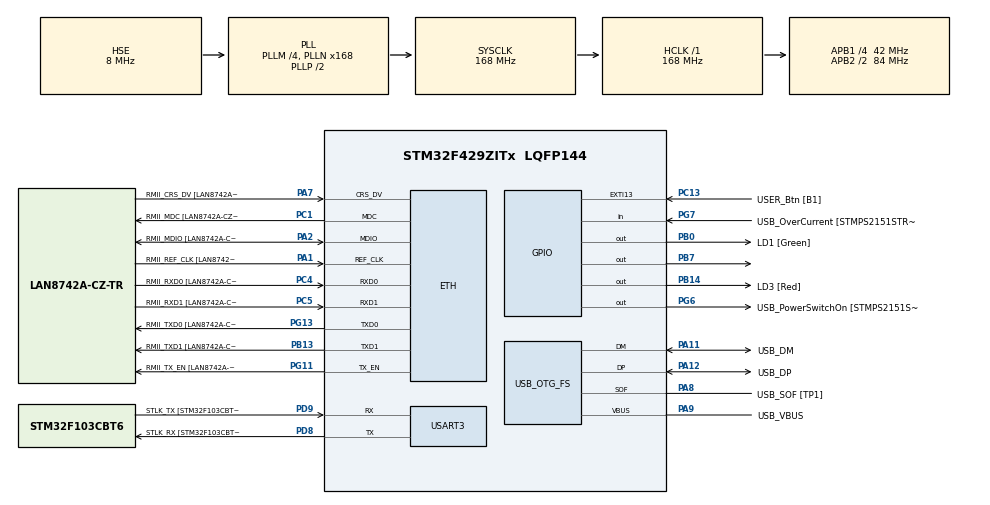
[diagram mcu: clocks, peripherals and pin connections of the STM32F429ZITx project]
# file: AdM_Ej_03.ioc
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ETH.MediaInterface=HAL_ETH_RMII_MODE
ETH.PHY_Name=LAN8742A_PHY_ADDRESS
ETH.PHY_Value=0
ETH.PhyAddress=0
Mcu.Family=STM32F4
Mcu.Name=STM32F429ZITx
Mcu.Package=LQFP144
NVIC.PriorityGroup=NVIC_PRIORITYGROUP_4
PA1.GPIO_Label=RMII_REF_CLK [LAN8742A-CZ-TR_REFCLK0]
PA1.Mode=RMII
PA1.Signal=ETH_REF_CLK
PA10.GPIO_Label=USB_ID
PA10.Signal=USB_OTG_FS_ID
PA11.GPIO_Label=USB_DM
PA11.Mode=Device_Only
PA11.Signal=USB_OTG_FS_DM
PA12.GPIO_Label=USB_DP
PA12.Mode=Device_Only
PA12.Signal=USB_OTG_FS_DP
PA13.GPIO_Label=TMS
PA13.Mode=Serial_Wire
PA13.Signal=SYS_JTMS-SWDIO
PA14.GPIO_Label=TCK
PA14.Mode=Serial_Wire
PA14.Signal=SYS_JTCK-SWCLK
PA2.GPIO_Label=RMII_MDIO [LAN8742A-CZ-TR_MDIO]
PA2.Mode=RMII
PA2.Signal=ETH_MDIO
PA7.GPIO_Label=RMII_CRS_DV [LAN8742A-CZ-TR_CRS_DV]
PA7.Mode=RMII
PA7.Signal=ETH_CRS_DV
PA8.GPIO_Label=USB_SOF [TP1]
PA8.Mode=Activate_SOF_FS
PA8.Signal=USB_OTG_FS_SOF
PA9.GPIO_Label=USB_VBUS
PA9.Mode=Activate_VBUS
PA9.Signal=USB_OTG_FS_VBUS
PB0.GPIO_Label=LD1 [Green]
PB0.Signal=GPIO_Output
PB13.GPIO_Label=RMII_TXD1 [LAN8742A-CZ-TR_TXD1]
PB13.Mode=RMII
PB13.Signal=ETH_TXD1
PB14.GPIO_Label=LD3 [Red]
PB14.Signal=GPIO_Output
PB7.Signal=GPIO_Output
PC1.GPIO_Label=RMII_MDC [LAN8742A-CZ-TR_MDC]
PC1.Mode=RMII
PC1.Signal=ETH_MDC
PC13.GPIO_Label=USER_Btn [B1]
PC13.Signal=GPXTI13
PC14/OSC32_IN.Mode=LSE-External-Oscillator
PC14/OSC32_IN.Signal=RCC_OSC32_IN
PC15/OSC32_OUT.Mode=LSE-External-Oscillator
PC15/OSC32_OUT.Signal=RCC_OSC32_OUT
PC4.GPIO_Label=RMII_RXD0 [LAN8742A-CZ-TR_RXD0]
PC4.Mode=RMII
PC4.Signal=ETH_RXD0
PC5.GPIO_Label=RMII_RXD1 [LAN8742A-CZ-TR_RXD1]
PC5.Mode=RMII
PC5.Signal=ETH_RXD1
PD8.GPIO_Label=STLK_RX [STM32F103CBT6_PA3]
PD8.Mode=Asynchronous
PD8.Signal=USART3_TX
PD9.GPIO_Label=STLK_TX [STM32F103CBT6_PA2]
PD9.Mode=Asynchronous
PD9.Signal=USART3_RX
PG11.GPIO_Label=RMII_TX_EN [LAN8742A-CZ-TR_TXEN]
PG11.Mode=RMII
PG11.Signal=ETH_TX_EN
PG13.GPIO_Label=RMII_TXD0 [LAN8742A-CZ-TR_TXD0]
PG13.Mode=RMII
PG13.Signal=ETH_TXD0
PG6.GPIO_Label=USB_PowerSwitchOn [STMPS2151STR_EN]
PG6.Signal=GPIO_Output
PG7.GPIO_Label=USB_OverCurrent [STMPS2151STR_FAULT]
PG7.Signal=GPIO_Input
PH0/OSC_IN.GPIO_Label=MCO [STM32F103CBT6_PA8]
PH0/OSC_IN.Mode=HSE-External-Clock-Source
PH0/OSC_IN.Signal=RCC_OSC_IN
PH1/OSC_OUT.Mode=HSE-External-Clock-Source
PH1/OSC_OUT.Signal=RCC_OSC_OUT
ProjectManager.HeapSize=0x200
ProjectManager.StackSize=0x400
ProjectManager.TargetToolchain=STM32CubeIDE
RCC.48MHZClocksFreq_Value=48000000
RCC.AHBFreq_Value=168000000
RCC.APB1CLKDivider=RCC_HCLK_DIV4
RCC.APB1Freq_Value=42000000
RCC.APB1TimFreq_Value=84000000
RCC.APB2CLKDivider=RCC_HCLK_DIV2
RCC.APB2Freq_Value=84000000
RCC.APB2TimCLKDivider=2
RCC.APB2TimFreq_Value=168000000
RCC.CortexFreq_Value=168000000
RCC.HCLKFreq_Value=168000000
RCC.HSE_VALUE=8000000
RCC.HSI_VALUE=16000000
RCC.PLLM=4
RCC.PLLMUL=RCC_PLL_MUL9
RCC.PLLN=168
RCC.PLLQ=7
RCC.PRESCALERUSB=RCC_USBCLKSOURCE_PLL_DIV1_5
RCC.SYSCLKFreq_VALUE=168000000
RCC.SYSCLKSource=RCC_SYSCLKSOURCE_PLLCLK
RCC.SYSCLKSourceVirtual=RCC_SYSCLKSOURCE_PLLCLK
RCC.USBFreq_Value=48000000
RCC.VCOOutputFreq_Value=336000000
USART3.VirtualMode=VM_ASYNC
USB_OTG_FS.VirtualMode=Device_Only
board=NUCLEO-F429ZI

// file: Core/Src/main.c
/* USER CODE BEGIN Header */
/**
  ******************************************************************************
  * @file           : main.c
  * @brief          : Main program body
  ******************************************************************************
  * @attention
  *
  * Copyright (c) 2023 STMicroelectronics.
  * All rights reserved.
  *
  * This software is licensed under terms that can be found in the LICENSE file
  * in the root directory of this software component.
  * If no LICENSE file comes with this software, it is provided AS-IS.
  *
  ******************************************************************************
  */
/* USER CODE END Header */
#include "main.h"
#include "string.h"

/* USER CODE BEGIN Includes */
#include "stdio.h"
#include "errno.h"
#include "stdlib.h"
#include "unistd.h"
#include "asm_func.h"
/* USER CODE END Includes */

ETH_TxPacketConfig TxConfig;
ETH_DMADescTypeDef  DMARxDscrTab[ETH_RX_DESC_CNT]; /* Ethernet Rx DMA Descriptors */
ETH_DMADescTypeDef  DMATxDscrTab[ETH_TX_DESC_CNT]; /* Ethernet Tx DMA Descriptors */

ETH_HandleTypeDef heth;

UART_HandleTypeDef huart3;

PCD_HandleTypeDef hpcd_USB_OTG_FS;

void SystemClock_Config(void);
static void MX_GPIO_Init(void);
static void MX_ETH_Init(void);
static void MX_USART3_UART_Init(void);
static void MX_USB_OTG_FS_PCD_Init(void);
/* USER CODE BEGIN PFP */
void productoEscalar16(uint16_t * vectorIn, uint16_t * vectorOut, uint32_t longitud, uint16_t escalar);
/* USER CODE END PFP */

/* USER CODE BEGIN 0 */

int _write(int file, char *data, int len)
{
   if ((file != STDOUT_FILENO) && (file != STDERR_FILENO))
   {
      errno = EBADF;
      return -1;
   }

   // arbitrary timeout 1000
   HAL_StatusTypeDef status =
      HAL_UART_Transmit(&huart3, (uint8_t*)data, len, 1000);

   // return # of bytes written - as best we can tell
   return (status == HAL_OK ? len : 0);
}

/* USER CODE END 0 */

int main(void)
{

  /* MCU Configuration--------------------------------------------------------*/

  /* Reset of all peripherals, Initializes the Flash interface and the Systick. */
  HAL_Init();

  /* Configure the system clock */
  SystemClock_Config();

  /* Initialize all configured peripherals */
  MX_GPIO_Init();
  MX_ETH_Init();
  MX_USART3_UART_Init();
  MX_USB_OTG_FS_PCD_Init();

  /* Infinite loop */
  /* USER CODE BEGIN WHILE */
  while (1)
  {
	  uint16_t vector [8]= {2345, 4567, 45, 989, 6000, 34567, 9865, 1152};
	  uint16_t escalar = 54;
	  uint32_t longitud = 8;
	  uint16_t output[8];
	  productoEscalar16(vector, output, longitud, escalar);
	  printf("\r\n");
	  for(int i=0; i<longitud; i++){
		  printf("%d * %d = %d\n\r", vector[i], escalar, output[i]);
	  }
	  asm_prodEsc16(vector, output, longitud, escalar);
	  printf("\r\n");
	  for(int i=0; i<longitud; i++){
		  printf("%d * %d = %d\n\r", vector[i], escalar, output[i]);
	  }
	  while(1);
	  /* USER CODE END WHILE */

  }
}

void SystemClock_Config(void)
{
  RCC_OscInitTypeDef RCC_OscInitStruct = {0};
  RCC_ClkInitTypeDef RCC_ClkInitStruct = {0};

  /** Configure the main internal regulator output voltage
  */
  __HAL_RCC_PWR_CLK_ENABLE();
  __HAL_PWR_VOLTAGESCALING_CONFIG(PWR_REGULATOR_VOLTAGE_SCALE1);

  /** Initializes the RCC Oscillators according to the specified parameters
  * in the RCC_OscInitTypeDef structure.
  */
  RCC_OscInitStruct.OscillatorType = RCC_OSCILLATORTYPE_HSE;
  RCC_OscInitStruct.HSEState = RCC_HSE_BYPASS;
  RCC_OscInitStruct.PLL.PLLState = RCC_PLL_ON;
  RCC_OscInitStruct.PLL.PLLSource = RCC_PLLSOURCE_HSE;
  RCC_OscInitStruct.PLL.PLLM = 4;
  RCC_OscInitStruct.PLL.PLLN = 168;
  RCC_OscInitStruct.PLL.PLLP = RCC_PLLP_DIV2;
  RCC_OscInitStruct.PLL.PLLQ = 7;
  if (HAL_RCC_OscConfig(&RCC_OscInitStruct) != HAL_OK)
  {
    Error_Handler();
  }

  /** Initializes the CPU, AHB and APB buses clocks
  */
  RCC_ClkInitStruct.ClockType = RCC_CLOCKTYPE_HCLK|RCC_CLOCKTYPE_SYSCLK
                              |RCC_CLOCKTYPE_PCLK1|RCC_CLOCKTYPE_PCLK2;
  RCC_ClkInitStruct.SYSCLKSource = RCC_SYSCLKSOURCE_PLLCLK;
  RCC_ClkInitStruct.AHBCLKDivider = RCC_SYSCLK_DIV1;
  RCC_ClkInitStruct.APB1CLKDivider = RCC_HCLK_DIV4;
  RCC_ClkInitStruct.APB2CLKDivider = RCC_HCLK_DIV2;

  if (HAL_RCC_ClockConfig(&RCC_ClkInitStruct, FLASH_LATENCY_5) != HAL_OK)
  {
    Error_Handler();
  }
}

static void MX_ETH_Init(void)
{

   static uint8_t MACAddr[6];

  heth.Instance = ETH;
  MACAddr[0] = 0x00;
  MACAddr[1] = 0x80;
  MACAddr[2] = 0xE1;
  MACAddr[3] = 0x00;
  MACAddr[4] = 0x00;
  MACAddr[5] = 0x00;
  heth.Init.MACAddr = &MACAddr[0];
  heth.Init.MediaInterface = HAL_ETH_RMII_MODE;
  heth.Init.TxDesc = DMATxDscrTab;
  heth.Init.RxDesc = DMARxDscrTab;
  heth.Init.RxBuffLen = 1524;

  if (HAL_ETH_Init(&heth) != HAL_OK)
  {
    Error_Handler();
  }

  memset(&TxConfig, 0 , sizeof(ETH_TxPacketConfig));
  TxConfig.Attributes = ETH_TX_PACKETS_FEATURES_CSUM | ETH_TX_PACKETS_FEATURES_CRCPAD;
  TxConfig.ChecksumCtrl = ETH_CHECKSUM_IPHDR_PAYLOAD_INSERT_PHDR_CALC;
  TxConfig.CRCPadCtrl = ETH_CRC_PAD_INSERT;

}

static void MX_USART3_UART_Init(void)
{

  huart3.Instance = USART3;
  huart3.Init.BaudRate = 115200;
  huart3.Init.WordLength = UART_WORDLENGTH_8B;
  huart3.Init.StopBits = UART_STOPBITS_1;
  huart3.Init.Parity = UART_PARITY_NONE;
  huart3.Init.Mode = UART_MODE_TX_RX;
  huart3.Init.HwFlowCtl = UART_HWCONTROL_NONE;
  huart3.Init.OverSampling = UART_OVERSAMPLING_16;
  if (HAL_UART_Init(&huart3) != HAL_OK)
  {
    Error_Handler();
  }

}

static void MX_USB_OTG_FS_PCD_Init(void)
{

  hpcd_USB_OTG_FS.Instance = USB_OTG_FS;
  hpcd_USB_OTG_FS.Init.dev_endpoints = 4;
  hpcd_USB_OTG_FS.Init.speed = PCD_SPEED_FULL;
  hpcd_USB_OTG_FS.Init.dma_enable = DISABLE;
  hpcd_USB_OTG_FS.Init.phy_itface = PCD_PHY_EMBEDDED;
  hpcd_USB_OTG_FS.Init.Sof_enable = ENABLE;
  hpcd_USB_OTG_FS.Init.low_power_enable = DISABLE;
  hpcd_USB_OTG_FS.Init.lpm_enable = DISABLE;
  hpcd_USB_OTG_FS.Init.vbus_sensing_enable = ENABLE;
  hpcd_USB_OTG_FS.Init.use_dedicated_ep1 = DISABLE;
  if (HAL_PCD_Init(&hpcd_USB_OTG_FS) != HAL_OK)
  {
    Error_Handler();
  }

}

static void MX_GPIO_Init(void)
{
  GPIO_InitTypeDef GPIO_InitStruct = {0};

  /* GPIO Ports Clock Enable */
  __HAL_RCC_GPIOC_CLK_ENABLE();
  __HAL_RCC_GPIOH_CLK_ENABLE();
  __HAL_RCC_GPIOA_CLK_ENABLE();
  __HAL_RCC_GPIOB_CLK_ENABLE();
  __HAL_RCC_GPIOD_CLK_ENABLE();
  __HAL_RCC_GPIOG_CLK_ENABLE();

  /*Configure GPIO pin Output Level */
  HAL_GPIO_WritePin(GPIOB, LD1_Pin|LD3_Pin|GPIO_PIN_7, GPIO_PIN_RESET);

  /*Configure GPIO pin Output Level */
  HAL_GPIO_WritePin(USB_PowerSwitchOn_GPIO_Port, USB_PowerSwitchOn_Pin, GPIO_PIN_RESET);

  /*Configure GPIO pin : USER_Btn_Pin */
  GPIO_InitStruct.Pin = USER_Btn_Pin;
  GPIO_InitStruct.Mode = GPIO_MODE_IT_RISING;
  GPIO_InitStruct.Pull = GPIO_NOPULL;
  HAL_GPIO_Init(USER_Btn_GPIO_Port, &GPIO_InitStruct);

  /*Configure GPIO pins : LD1_Pin LD3_Pin PB7 */
  GPIO_InitStruct.Pin = LD1_Pin|LD3_Pin|GPIO_PIN_7;
  GPIO_InitStruct.Mode = GPIO_MODE_OUTPUT_PP;
  GPIO_InitStruct.Pull = GPIO_NOPULL;
  GPIO_InitStruct.Speed = GPIO_SPEED_FREQ_LOW;
  HAL_GPIO_Init(GPIOB, &GPIO_InitStruct);

  /*Configure GPIO pin : USB_PowerSwitchOn_Pin */
  GPIO_InitStruct.Pin = USB_PowerSwitchOn_Pin;
  GPIO_InitStruct.Mode = GPIO_MODE_OUTPUT_PP;
  GPIO_InitStruct.Pull = GPIO_NOPULL;
  GPIO_InitStruct.Speed = GPIO_SPEED_FREQ_LOW;
  HAL_GPIO_Init(USB_PowerSwitchOn_GPIO_Port, &GPIO_InitStruct);

  /*Configure GPIO pin : USB_OverCurrent_Pin */
  GPIO_InitStruct.Pin = USB_OverCurrent_Pin;
  GPIO_InitStruct.Mode = GPIO_MODE_INPUT;
  GPIO_InitStruct.Pull = GPIO_NOPULL;
  HAL_GPIO_Init(USB_OverCurrent_GPIO_Port, &GPIO_InitStruct);

}

/* USER CODE BEGIN 4 */

void productoEscalar16(uint16_t * vectorIn, uint16_t * vectorOut, uint32_t longitud, uint16_t escalar){
	for(int i=0; i<longitud; i++){
	vectorOut[i] = vectorIn[i] * escalar;
	}
}

/* USER CODE END 4 */

void Error_Handler(void)
{
  __disable_irq();
  while (1)
  {
  }
}
